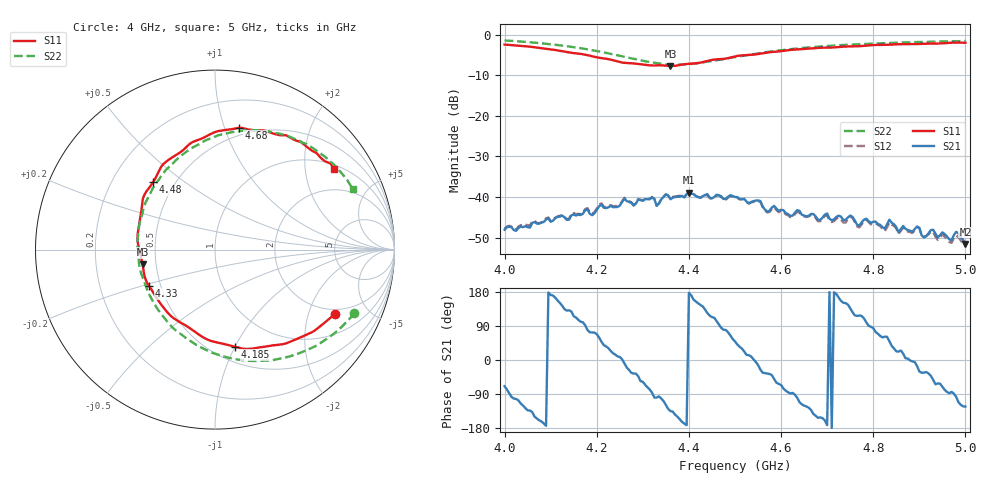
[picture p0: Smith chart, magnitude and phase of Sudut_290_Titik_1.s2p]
# Hz S RI R 50
! CMT, C1220, 16058040, 17.2.0/1
! Date: 15/08/2018 11:36:12
! Data: Format (Calibration Info)
! Freq  S11: Re/Im (F2)  S21: Re/Im (F2)  S12: Re/Im (F2)  S22: Re/Im (F2)
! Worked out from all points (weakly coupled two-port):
!   201 points, 4 GHz to 5 GHz, reference 50 ohm
!   highest |S21| = -38.94 dB at 4.4 GHz (marker M1); lowest = -51.5 dB at 5 GHz (marker M2)
!   lowest |S11| = -7.7 dB at 4.36 GHz (marker M3), VSWR 2.40, Z = 21 - j4.17 ohm
!   |S11| at or under -10 dB: nowhere
!   |S22| runs from -7.4 to -1.4 dB; largest |S21 - S12| = 0.00044
!   S11 on the Smith chart (normalised r, x): 4 GHz: 1.80, -3.02; 4.185 GHz: 0.64, -1.00; 4.33 GHz: 0.43, -0.21; 4.48 GHz: 0.38, +0.38; 4.68 GHz: 0.43, +1.12; 5 GHz: 1.14, +2.84
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4e9  0.6694 -0.3562  0.0014 -0.0037  0.00156 -0.00377  0.7758 -0.3533
4.17e9  0.1628 -0.553  -0.00103 0.00616  -0.00113 0.00631  0.2749 -0.6192
4.185e9  0.1103 -0.5418  0.00182 0.00593  0.00184 0.00617  0.2112 -0.6208
4.26e9  -0.1708 -0.4179  0.00942 -0.00151  0.00965 -0.00162  -0.1161 -0.5234
4.33e9  -0.3689 -0.2013  -0.00123 -0.00768  -0.00135 -0.00778  -0.356 -0.2699
4.335e9  -0.3792 -0.1838  -0.00087 -0.00829  -0.000953 -0.00831  -0.368 -0.2464
4.36e9  -0.4036 -0.0825  -0.00663 -0.00663  -0.00676 -0.00669  -0.4133 -0.126
4.4e9  -0.4314 0.0834  -0.0113 0.000548  -0.0114 0.000828  -0.4288 0.0761
4.48e9  -0.3455 0.3746  0.00176 0.00936  0.00187 0.0091  -0.3 0.41
4.5e9  -0.308 0.446  0.00658 0.00753  0.00644 0.00742  -0.2452 0.4708
4.67e9  0.1122 0.6736  -0.00489 -0.00377  -0.00474 -0.00358  0.2469 0.6643
4.68e9  0.1312 0.6779  -0.00469 -0.00244  -0.00452 -0.00223  0.2715 0.6611
4.75e9  0.2875 0.6602  -0.0043 0.00405  -0.00421 0.00388  0.4322 0.6215
4.825e9  0.4252 0.6202  0.00195 0.00359  0.00192 0.0033  0.5664 0.5509
4.835e9  0.4441 0.6107  0.00339 0.00401  0.00311 0.00371  0.5811 0.5404
4.855e9  0.4761 0.6002  0.00339 0.00139  0.00324 0.00134  0.6111 0.5185
4.9e9  0.5417 0.5504  0.0036 -0.00209  0.00369 -0.00196  0.6686 0.4661
4.91e9  0.5561 0.5435  0.00265 -0.00173  0.00274 -0.00175  0.6796 0.454
4.93e9  0.579 0.5228  0.00243 -0.00311  0.00226 -0.00298  0.7026 0.4289
4.97e9  0.6387 0.4821  0.000293 -0.00292  0.000244 -0.00271  0.7422 0.3795
4.98e9  0.6455 0.4766  -0.000484 -0.00369  -0.000504 -0.00332  0.7498 0.3651
5e9  0.6608 0.4494  -0.00143 -0.00222  -0.00124 -0.00214  0.7678 0.3383
